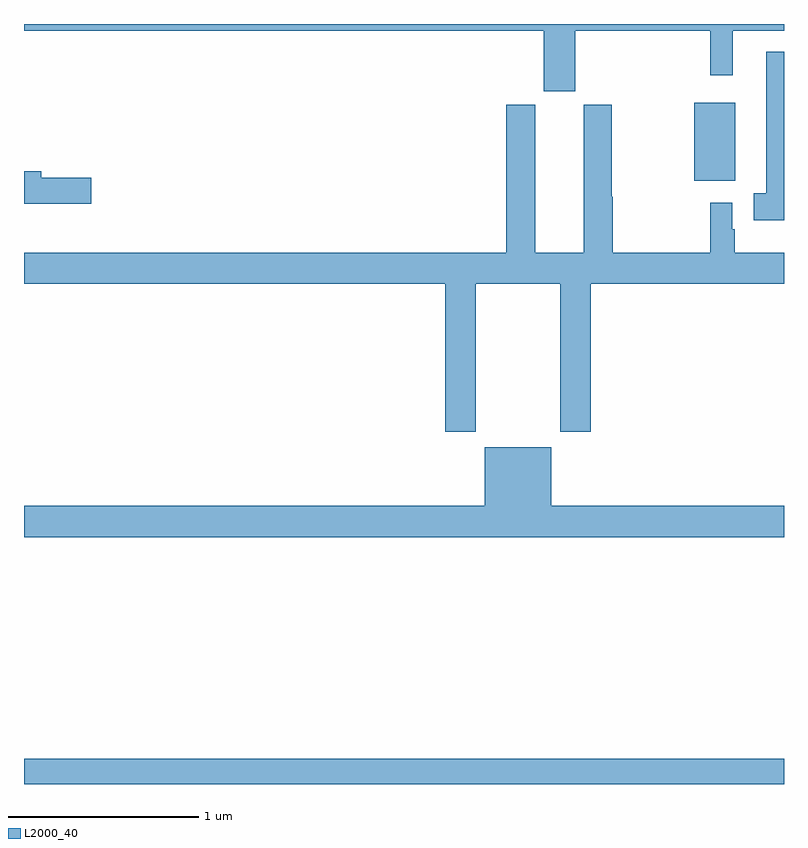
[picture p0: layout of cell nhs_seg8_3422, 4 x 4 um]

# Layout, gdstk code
import gdstk
lib = gdstk.Library(unit=1e-6, precision=1e-09)
def R(c, l, rs):  # rectangles x0, y0, x1, y1
    for r in rs: c.add(gdstk.rectangle(r[:2], r[2:], *l))
def P(c, l, *ps):  # polygons
    for p in ps: c.add(gdstk.Polygon(p, *l))
L2000_40 = (2000, 40)

nhs_seg8_3422 = lib.new_cell('nhs_seg8_3422')
R(nhs_seg8_3422, L2000_40, [(323,1081.9,327,1082.032), (326.528,1085.075,326.743,1085.485)])
P(nhs_seg8_3422, L2000_40, [(325.9,1085.864),(326.611,1085.864),(326.611,1085.631),(326.729,1085.631),(326.729,1085.864),(327,1085.864),(327,1085.9),(323,1085.9),(323,1085.864),(325.736,1085.864),(325.736,1085.547),(325.9,1085.547)],
  [(327,1085.755),(326.906,1085.755),(326.906,1085.009),(326.84,1085.009),(326.84,1084.868),(327,1084.868)],
  [(325.946,1084.696),(325.69,1084.696),(325.69,1085.475),(325.538,1085.475),(325.538,1084.696),(323,1084.696),(323,1084.532),(325.217,1084.532),(325.217,1083.753),(325.377,1083.753),(325.377,1084.532),(325.822,1084.532),(325.822,1083.753),(325.982,1083.753),(325.982,1084.532),(327,1084.532),(327,1084.696),(326.74,1084.696),(326.74,1084.82),(326.727,1084.82),(326.727,1084.96),(326.611,1084.96),(326.611,1084.696),(326.099,1084.696),(326.099,1084.992),(326.094,1084.992),(326.094,1085.475),(325.946,1085.475)],
  [(323.353,1085.09),(323.092,1085.09),(323.092,1085.126),(323,1085.126),(323,1084.955),(323.353,1084.955)],
  [(327,1083.364),(325.774,1083.364),(325.774,1083.673),(325.424,1083.673),(325.424,1083.364),(323,1083.364),(323,1083.2),(327,1083.2)])

lib.write_gds('nhs_seg8_3422.gds')
